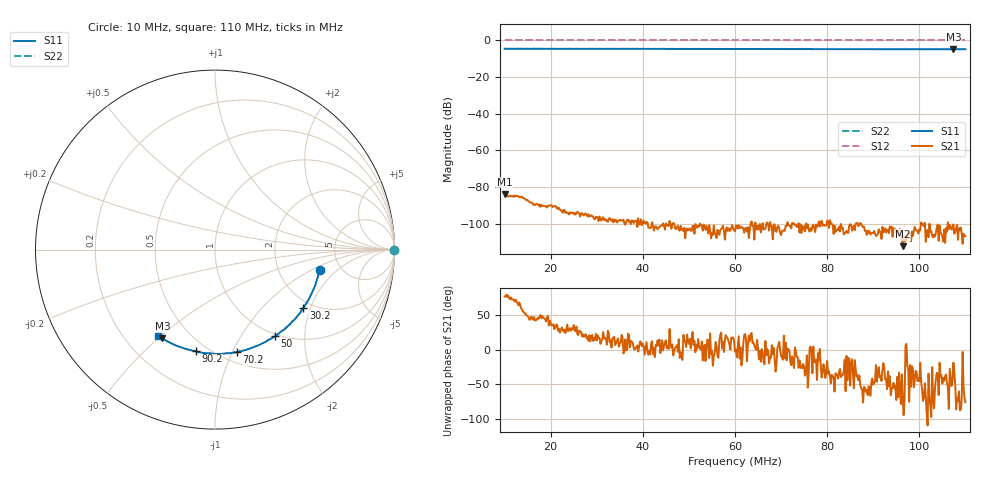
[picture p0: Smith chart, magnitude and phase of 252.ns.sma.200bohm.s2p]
! Anritsu VNA Master:  Model: MS2036C/10/77
! SN:  1601066
! /card0/usr/ns.200bohm.s2p
! Existing Calibration Information:
! TYPE:  Current Settings,  Active Cal Settings
! TIME:  12/21/2017 05:01:15 PM,  12/21/2017 04:46:01 PM
! INTERNAL TEMP:  40.5 C,  41.5 C
! # POINTS:  501,  501
! START FREQ:  10.000 MHz,  10.000 MHz
! STOP FREQ:  110.000 MHz,  110.000 MHz
! SOURCE POWER:  High,  High
! IFBW:  100 Hz,  100 Hz
! AVG FACTOR:  1 ,  1
! REF PLANE 1:  0 mm,  0 mm
! REF PLANE 2:  0 mm,  0 mm
! CAL TYPE:  Full S11,  Full S11
! CAL METHOD:  SOLT,  SOLT
! CAL LINE TYPE:  Coax,  Coax
! DUT PORT 1:  K-Conn(F),  K-Conn(F)
! DUT PORT 2:  K-Conn(F),  K-Conn(F)
! CAL STATUS:  OK: Accuracy High,  --
# GHZ S DB R 50.0
! FREQ.GHZ  S11DB  S11A  S21DB  S21A  S12DB  S12A  S22DB  S22A
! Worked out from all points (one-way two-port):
!   501 points, 10 MHz to 110 MHz, reference 50 ohm
!   highest |S21| = -83.86 dB at 10 MHz (marker M1); lowest = -112.3 dB at 96.4 MHz (marker M2)
!   lowest |S11| = -4.8 dB at 107.4 MHz (marker M3), VSWR 3.71, Z = 17.5 - j25.8 ohm
!   |S11| at or under -10 dB: nowhere
!   |S22| runs from 0.0 to 0.0 dB; largest |S21 - S12| = 1
!   S11 on the Smith chart (normalised r, x): 10 MHz: 3.47, -1.20; 30.2 MHz: 1.80, -1.78; 50 MHz: 0.96, -1.42; 70.2 MHz: 0.60, -1.04; 90.2 MHz: 0.43, -0.73; 110 MHz: 0.34, -0.49
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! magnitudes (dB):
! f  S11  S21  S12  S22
! 10 MHz  -4.5  -83.9  0.0  0.0
! 26.8 MHz  -4.6  -94.3  0.0  0.0
! 30.2 MHz  -4.6  -96.5  0.0  0.0
! 33 MHz  -4.6  -97.8  0.0  0.0
! 35.4 MHz  -4.6  -98.5  0.0  0.0
! 37.2 MHz  -4.6  -98.7  0.0  0.0
! 38.8 MHz  -4.6  -101.9  0.0  0.0
! 40.4 MHz  -4.6  -100.0  0.0  0.0
! 43.4 MHz  -4.6  -102.3  0.0  0.0
! 46.2 MHz  -4.6  -102.8  0.0  0.0
! 50 MHz  -4.6  -103.0  0.0  0.0
! 60 MHz  -4.7  -104.3  0.0  0.0
! 70.2 MHz  -4.7  -104.3  0.0  0.0
! 76.8 MHz  -4.7  -101.3  0.0  0.0
! 80.6 MHz  -4.7  -98.1  0.0  0.0
! 83 MHz  -4.7  -100.2  0.0  0.0
! 85.2 MHz  -4.7  -100.7  0.0  0.0
! 90.2 MHz  -4.8  -104.0  0.0  0.0
! 93.4 MHz  -4.8  -105.2  0.0  0.0
! 96.4 MHz  -4.8  -112.3  0.0  0.0
! 107.4 MHz  -4.8  -100.5  0.0  0.0
! 110 MHz  -4.8  -106.9  0.0  0.0
